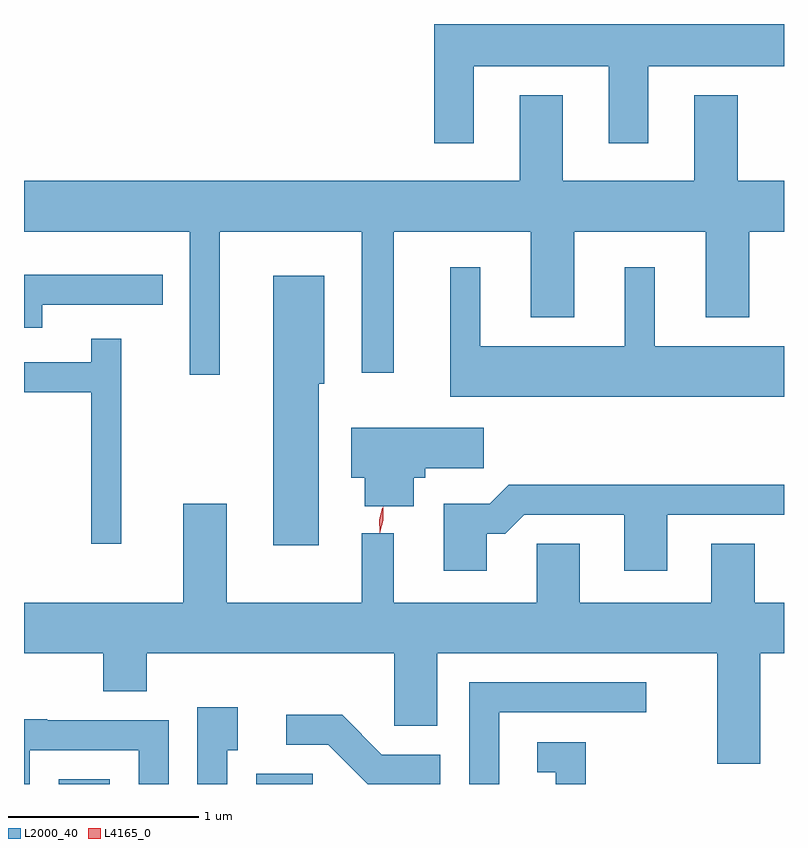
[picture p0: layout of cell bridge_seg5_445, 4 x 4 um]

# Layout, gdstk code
import gdstk
lib = gdstk.Library(unit=1e-6, precision=1e-09)
def R(c, l, rs):  # rectangles x0, y0, x1, y1
    for r in rs: c.add(gdstk.rectangle(r[:2], r[2:], *l))
def P(c, l, *ps):  # polygons
    for p in ps: c.add(gdstk.Polygon(p, *l))
L2000_40 = (2000, 40)
L4165_0 = (4165, 0)

bridge_seg5_445 = lib.new_cell('bridge_seg5_445')
R(bridge_seg5_445, L2000_40, [(545.646,1445.009,545.914,1445.034), (546.686,1445.009,546.984,1445.064)])
P(bridge_seg5_445, L2000_40, [(547.829,1448.786),(548.541,1448.786),(548.541,1448.381),(548.749,1448.381),(548.749,1448.786),(549.463,1448.786),(549.463,1449.009),(547.621,1449.009),(547.621,1448.381),(547.829,1448.381)],
  [(546.494,1447.916),(547.241,1447.916),(547.241,1447.173),(547.409,1447.173),(547.409,1447.916),(548.131,1447.916),(548.131,1447.466),(548.359,1447.466),(548.359,1447.916),(549.051,1447.916),(549.051,1447.466),(549.279,1447.466),(549.279,1447.916),(549.463,1447.916),(549.463,1448.184),(549.219,1448.184),(549.219,1448.634),(548.991,1448.634),(548.991,1448.184),(548.299,1448.184),(548.299,1448.634),(548.071,1448.634),(548.071,1448.184),(545.463,1448.184),(545.463,1447.916),(546.336,1447.916),(546.336,1447.163),(546.494,1447.163)],
  [(549.463,1447.314),(548.784,1447.314),(548.784,1447.728),(548.626,1447.728),(548.626,1447.314),(547.864,1447.314),(547.864,1447.728),(547.706,1447.728),(547.706,1447.046),(549.463,1447.046)],
  [(545.559,1447.531),(546.193,1447.531),(546.193,1447.689),(545.463,1447.689),(545.463,1447.411),(545.559,1447.411)],
  [(547.014,1447.116),(547.044,1447.116),(547.044,1447.684),(546.776,1447.684),(546.776,1446.266),(547.014,1446.266)],
  [(545.974,1447.353),(545.816,1447.353),(545.816,1447.229),(545.463,1447.229),(545.463,1447.071),(545.816,1447.071),(545.816,1446.273),(545.974,1446.273)],
  [(547.514,1446.621),(547.574,1446.621),(547.574,1446.671),(547.884,1446.671),(547.884,1446.884),(547.186,1446.884),(547.186,1446.621),(547.256,1446.621),(547.256,1446.471),(547.514,1446.471)],
  [(547.899,1446.326),(547.997,1446.326),(548.097,1446.426),(548.621,1446.426),(548.621,1446.131),(548.849,1446.131),(548.849,1446.426),(549.463,1446.426),(549.463,1446.584),(548.014,1446.584),(547.914,1446.484),(547.671,1446.484),(547.671,1446.131),(547.899,1446.131)],
  [(547.411,1445.316),(547.639,1445.316),(547.639,1445.696),(549.111,1445.696),(549.111,1445.116),(549.339,1445.116),(549.339,1445.696),(549.463,1445.696),(549.463,1445.964),(549.309,1445.964),(549.309,1446.274),(549.081,1446.274),(549.081,1445.964),(548.389,1445.964),(548.389,1446.274),(548.161,1446.274),(548.161,1445.964),(547.409,1445.964),(547.409,1446.328),(547.241,1446.328),(547.241,1445.964),(546.529,1445.964),(546.529,1446.484),(546.301,1446.484),(546.301,1445.964),(545.463,1445.964),(545.463,1445.696),(545.881,1445.696),(545.881,1445.496),(546.109,1445.496),(546.109,1445.696),(547.411,1445.696)],
  [(547.964,1445.386),(548.738,1445.386),(548.738,1445.544),(547.806,1445.544),(547.806,1445.009),(547.964,1445.009)],
  [(546.534,1445.186),(546.589,1445.186),(546.589,1445.414),(546.376,1445.414),(546.376,1445.009),(546.534,1445.009)],
  [(547.654,1445.164),(547.347,1445.164),(547.137,1445.374),(546.843,1445.374),(546.843,1445.216),(547.064,1445.216),(547.271,1445.009),(547.654,1445.009)],
  [(545.494,1445.186),(546.066,1445.186),(546.066,1445.009),(546.224,1445.009),(546.224,1445.344),(545.585,1445.344),(545.585,1445.349),(545.463,1445.349),(545.463,1445.009),(545.494,1445.009)],
  [(548.419,1445.229),(548.163,1445.229),(548.163,1445.071),(548.261,1445.071),(548.261,1445.009),(548.419,1445.009)])
P(bridge_seg5_445, L4165_0, [(547.336,1446.33),(547.336,1446.33),(547.335,1446.399),(547.354,1446.466),(547.354,1446.467),(547.354,1446.466),(547.355,1446.397),(547.336,1446.33)],
  [(547.335,1446.333),(547.335,1446.333),(547.332,1446.399),(547.348,1446.463),(547.349,1446.463),(547.349,1446.463),(547.352,1446.397),(547.336,1446.333)])

lib.write_gds('bridge_seg5_445.gds')
